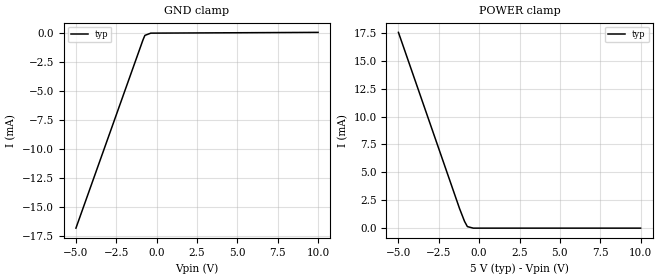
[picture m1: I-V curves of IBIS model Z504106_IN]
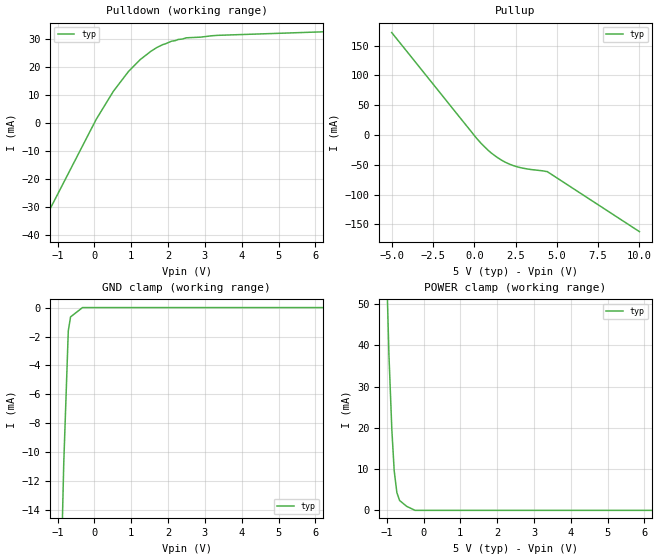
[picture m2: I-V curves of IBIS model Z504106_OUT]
| YOU ARE ONLY AUTHORIZED TO USE THIS SOFTWARE
| ACCORDING TO LICENSOR'S LICENSE RESTRICTIONS.
[IBIS Ver] 3.1
[File Name] mc54hc4511j.ibs
[File Rev] 2.0
[Source] Measured and created by ICX Technology
[Date] Friday 7/14/00 9:08:07 AM
[Copyright]
| (C) COPYRIGHT 1993-2000
| MENTOR GRAPHICS CORPORATION
| ICX STANDARD LIBRARY, ICX PROJECT MODELING,
| ICX CUSTOM MODELING, ICX VENDOR MODEL
| ALL RIGHTS RESERVED.
| THE FOLLOWING ARE TRADEMARKS OR SERVICE MARKS OF
| MENTOR GRAPHICS CORPORATION:ICX (R), ICX STANDARD
| LIBRARY(R), ICX PROJECT MODELING(R), ICX CUSTOM
| MODELING(R), qualityIBIS(TM), MODELVIEWER(TM),
| AND MODELEDITOR(TM)
| ALL COPIES OF SOFTWARE, INCLUDING BUT NOT LIMITED TO
| ANY MODIFICATIONS, ENHANCEMENTS OR DERIVATIVE WORKS,
| MUST CONTAIN ALL MENTOR GRAPHICS CORPORATION'S
| NOTICES AND LEGENDS, INCLUDING THOSE EMBEDDED IN
| SOFTWARE AND THOSE AFFIXED TO SOFTWARE MEDIUM
| AND CONTAINER, AS RECEIVED FROM MENTOR GRAPHICS
| CORPORATION.
|  ZAP Model Builder 2.7
[Component] MC54HC4511J
[Manufacturer] OnSemiconductor
[Package]
| variable   typ   min   max
R_pkg  .212ohms NA NA
L_pkg  4.758nH NA NA
C_pkg  1.944pF NA NA
[Pin] signal_name  model_name  R_pin  L_pin C_pin
1 D1 Z504106_IN .224 7.258n 2.683p
2 D2 Z504106_IN .216 5.258n 2.19p
3 _LT Z504106_IN .208 3.758n 1.697p
4 _BI Z504106_IN .2 2.758n 1.204p
5 _LE1 Z504106_IN .2 2.758n 1.204p
6 D3 Z504106_IN .208 3.758n 1.697p
7 D0 Z504106_IN .216 5.258n 2.19p
8 GROUND GND .224 7.258n 2.683p
9 E Z504106_OUT .224 7.258n 2.683p
10 D Z504106_OUT .216 5.258n 2.19p
11 C Z504106_OUT .208 3.758n 1.697p
12 B Z504106_OUT .2 2.758n 1.204p
13 A Z504106_OUT .2 2.758n 1.204p
14 G Z504106_OUT .208 3.758n 1.697p
15 F Z504106_OUT .216 5.258n 2.19p
16 VCC POWER .224 7.258n 2.683p
| Models and submodels in the file (2): Z504106_IN (Input), Z504106_OUT (Output)
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| (C) COPYRIGHT 1993-2000
| MENTOR GRAPHICS CORPORATION
| ICX STANDARD LIBRARY, ICX PROJECT MODELING,
| ICX CUSTOM MODELING, ICX VENDOR MODEL
| ALL RIGHTS RESERVED.
| THE FOLLOWING ARE TRADEMARKS OR SERVICE MARKS OF
| MENTOR GRAPHICS CORPORATION:ICX (R), ICX STANDARD
| LIBRARY(R), ICX PROJECT MODELING(R), ICX CUSTOM
| MODELING(R), qualityIBIS(TM), MODELVIEWER(TM),
| AND MODELEDITOR(TM)
| ALL COPIES OF SOFTWARE, INCLUDING BUT NOT LIMITED TO
| ANY MODIFICATIONS, ENHANCEMENTS OR DERIVATIVE WORKS,
| MUST CONTAIN ALL MENTOR GRAPHICS CORPORATION'S
| NOTICES AND LEGENDS, INCLUDING THOSE EMBEDDED IN
| SOFTWARE AND THOSE AFFIXED TO SOFTWARE MEDIUM
| AND CONTAINER, AS RECEIVED FROM MENTOR GRAPHICS
| CORPORATION.
| Model Application Version 1.89 2/18/99.
[Model] Z504106_IN
Model_type Input
Vinl = 1.000V
Vinh = 3.500V
C_comp 4.000pF NA NA
| variable typ   min   max
[Voltage Range] 5.000V NA NA
[GND Clamp Reference] 0.000V NA NA
[POWER Clamp Reference] 5.000V NA NA
[GND Clamp]
-5V       -16.85mA   NA         NA
-841.5mV  -594.8uA   NA         NA
-728.5mV  -225.4uA   NA         NA
-364.3mV  -31.02uA   NA         NA
10V       35.13uA    NA         NA
[POWER Clamp]
-5V       17.54mA    NA         NA
-1.216V   1.761mA    NA         NA
-905mV    604.9uA    NA         NA
-729mV    137.5uA    NA         NA
-364.5mV  0A         NA         NA
10V       0A         NA         NA
| (C) COPYRIGHT 1993-2000
| MENTOR GRAPHICS CORPORATION
| ICX STANDARD LIBRARY, ICX PROJECT MODELING,
| ICX CUSTOM MODELING, ICX VENDOR MODEL
| ALL RIGHTS RESERVED.
| THE FOLLOWING ARE TRADEMARKS OR SERVICE MARKS OF
| MENTOR GRAPHICS CORPORATION:ICX (R), ICX STANDARD
| LIBRARY(R), ICX PROJECT MODELING(R), ICX CUSTOM
| MODELING(R), qualityIBIS(TM), MODELVIEWER(TM),
| AND MODELEDITOR(TM)
| ALL COPIES OF SOFTWARE, INCLUDING BUT NOT LIMITED TO
| ANY MODIFICATIONS, ENHANCEMENTS OR DERIVATIVE WORKS,
| MUST CONTAIN ALL MENTOR GRAPHICS CORPORATION'S
| NOTICES AND LEGENDS, INCLUDING THOSE EMBEDDED IN
| SOFTWARE AND THOSE AFFIXED TO SOFTWARE MEDIUM
| AND CONTAINER, AS RECEIVED FROM MENTOR GRAPHICS
| CORPORATION.
| Model Application Version 1.89 2/18/99.
[Model] Z504106_OUT
Model_type Output
Vref=0.000V
Rref=500.0Mohms
Cref=50.00pF
Vmeas=2.500V
C_comp 8.000pF NA NA
| variable typ   min   max
[Voltage Range] 5.000V NA NA
[POWER Clamp Reference] 5.000V NA NA
[Pullup Reference] 5.000V NA NA
[Pulldown Reference] 0.000V NA NA
[GND Clamp Reference] 0.000V NA NA
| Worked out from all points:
|   slope of the pulldown table from 0 to 0.75 V, typ, clamps not added: 49.2 ohm
|   slope of the pullup table from 0 to 0.75 V, typ, clamps not added: 33.3 ohm
|   GND clamp passes 1 mA (typ) near -0.67 V on its own axis
|   POWER clamp passes 1 mA (typ) near -0.46 V on its own axis
[GND Clamp]
-5V       -692.5mA   NA         NA
-1.269V   -61.4mA    NA         NA
-1.133V   -42.39mA   NA         NA
-834.1mV  -10.78mA   NA         NA
-710.9mV  -1.611mA   NA         NA
-649.4mV  -646.3uA   NA         NA
-324.7mV  0A         NA         NA
10V       0A         NA         NA
[Pulldown]
-5V       -127.1mA   NA         NA
46.12mV   1.284mA    NA         NA
512.8mV   11.29mA    NA         NA
922.9mV   18.33mA    NA         NA
1.24V     22.55mA    NA         NA
1.534V    25.55mA    NA         NA
1.855V    27.91mA    NA         NA
2.09V     29.11mA    NA         NA
2.49V     30.32mA    NA         NA
3.345V    31.2mA     NA         NA
10V       34.12mA    NA         NA
[Pullup]
-5V       171.9mA    NA         NA
137mV     -5.526mA   NA         NA
445mV     -15.06mA   NA         NA
1.065V    -31.04mA   NA         NA
1.672V    -42.69mA   NA         NA
2.363V    -51.44mA   NA         NA
3.157V    -56.83mA   NA         NA
4.409V    -61.39mA   NA         NA
10V       -162.3mA   NA         NA
[POWER Clamp]
-5V       1.829A     NA         NA
-1.084V   85.74mA    NA         NA
-939mV    37.81mA    NA         NA
-860mV    19.59mA    NA         NA
-796mV    9.632mA    NA         NA
-723mV    4.284mA    NA         NA
-649mV    2.391mA    NA         NA
-459mV    985.2uA    NA         NA
-229.5mV  0A         NA         NA
10V       0A         NA         NA
[Ramp]
| variable typ min max
dV/dt_r 2.844/1.924n NA NA
dV/dt_f 2.844/1.868n NA NA
R_load = 500.0Ohms
